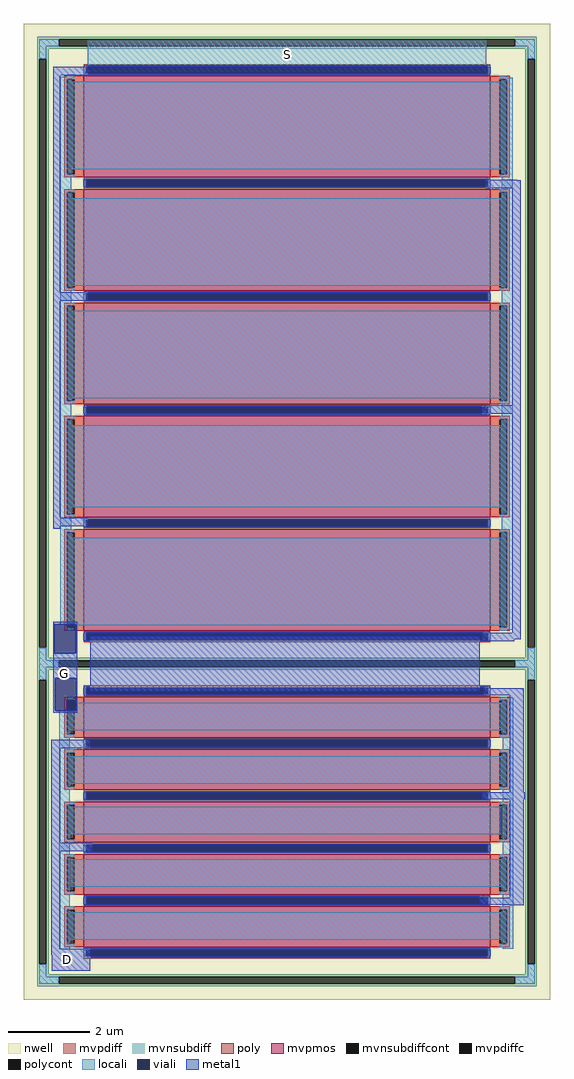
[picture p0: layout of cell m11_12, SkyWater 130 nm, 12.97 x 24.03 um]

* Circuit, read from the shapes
.subckt m11_12 D G S
XM1 n1 G D S sky130_fd_pr__pfet_g5v0d10v5 w=10 l=1 m=5
XM2 S G n1 S sky130_fd_pr__pfet_g5v0d10v5 w=10 l=2.5 m=5
.ends

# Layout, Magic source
magic
tech sky130A
magscale 1 2
<< locali >>
rect -850 25444 1114 25596
rect -984 25394 -930 25420
rect 1190 25394 1244 25414
rect -984 24964 1244 25394
rect -984 24820 -930 24964
rect 1190 24820 1244 24964
rect -984 24390 1244 24820
rect -984 24266 -930 24390
rect 1190 24266 1244 24390
rect -984 23836 1244 24266
rect -984 23702 -930 23836
rect 1190 23702 1244 23836
rect -984 23298 1244 23702
rect -984 23148 -930 23298
rect 1190 23148 1244 23298
rect -984 22724 1244 23148
rect -908 22718 1244 22724
rect 1190 22696 1244 22718
rect -906 22298 1192 22336
rect -990 22200 1192 22298
rect -990 22074 -938 22200
rect -990 21938 1192 22074
rect -990 21824 -938 21938
rect -990 21688 1184 21824
rect -990 21304 -938 21688
rect 1194 21566 1246 22362
rect -934 21430 1246 21566
rect -990 21168 1192 21304
rect -990 21122 -938 21168
rect 1194 21126 1246 21430
<< viali >>
rect -1014 22580 -908 22724
rect -1010 22298 -906 22458
<< metal1 >>
rect -1020 25426 -848 25468
rect -1020 24358 -984 25426
rect 1110 24910 1266 24912
rect 1110 24870 1282 24910
rect -1020 24316 -848 24358
rect -1020 23248 -984 24316
rect 1240 23802 1282 24870
rect 1094 23760 1282 23802
rect -1020 23206 -848 23248
rect -1020 23194 -984 23206
rect -1020 22724 -902 22736
rect -1020 22580 -1014 22724
rect -908 22580 -902 22724
rect 1240 22682 1282 23760
rect -1020 22568 -902 22580
rect -1018 22470 -902 22568
rect -1018 22458 -900 22470
rect -1018 22298 -1010 22458
rect -906 22298 -900 22458
rect -836 22394 1080 22664
rect 1094 22650 1282 22682
rect 1094 22640 1250 22650
rect 1102 22374 1298 22408
rect -1018 22286 -900 22298
rect -1020 22154 -840 22155
rect -1028 22113 -840 22154
rect -1028 21646 -984 22113
rect 1228 21896 1298 22374
rect 1094 21862 1302 21896
rect -1028 21604 -828 21646
rect -1028 21126 -984 21604
rect 1228 21376 1298 21862
rect 1082 21342 1298 21376
rect 1228 21338 1298 21342
rect -1028 21096 -836 21126
rect -1026 21016 -836 21096
use sky130_fd_pr__pfet_g5v0d10v5_4QM9AE  sky130_fd_pr__pfet_g5v0d10v5_4QM9AE_0
transform 0 1 132 -1 0 24057
box -1624 -1297 1624 1297
use sky130_fd_pr__pfet_g5v0d10v5_K6B4C5  sky130_fd_pr__pfet_g5v0d10v5_K6B4C5_0
transform 0 1 132 -1 0 21749
box -874 -1297 874 1297
<< labels >>
flabel metal1 -964 22480 -964 22480 0 FreeSans 1600 0 0 0 G
flabel metal1 -948 21074 -948 21074 0 FreeSans 1600 0 0 0 D
flabel locali 132 25528 132 25528 0 FreeSans 1600 0 0 0 S
<< end >>

# cell sky130_fd_pr__pfet_g5v0d10v5_4QM9AE: kit device sky130_fd_pr__pfet_g5v0d10v5, w 10 l 2.5 m 1 nf 5 diffcov 100 polycov 100 guard 1 glc 1 grc 1 gtc 1 gbc 1 tbcov 100 rlcov 100 topc 1 botc 1 poverlap 0 doverlap 1 lmin 0.50 wmin 0.42 class mosfet compatible {sky130_fd_pr__pfet_01v8 sky130_fd_pr__pfet_01v8_lvt sky130_fd_pr__pfet_01v8_hvt sky130_fd_pr__pfet_g5v0d10v5} full_metal 1 conn_gates 0 viasrc 100 viadrn 100 viagate 100 viagb 0 viagr 0 viagl 0 viagt 0 doports 1

# cell sky130_fd_pr__pfet_g5v0d10v5_K6B4C5: kit device sky130_fd_pr__pfet_g5v0d10v5, w 10 l 1 m 1 nf 5 diffcov 100 polycov 100 guard 1 glc 1 grc 1 gtc 1 gbc 1 tbcov 100 rlcov 100 topc 1 botc 1 poverlap 0 doverlap 1 lmin 0.50 wmin 0.42 class mosfet compatible {sky130_fd_pr__pfet_01v8 sky130_fd_pr__pfet_01v8_lvt sky130_fd_pr__pfet_01v8_hvt sky130_fd_pr__pfet_g5v0d10v5} full_metal 1 conn_gates 0 viasrc 100 viadrn 100 viagate 100 viagb 0 viagr 0 viagl 0 viagt 0 doports 1
